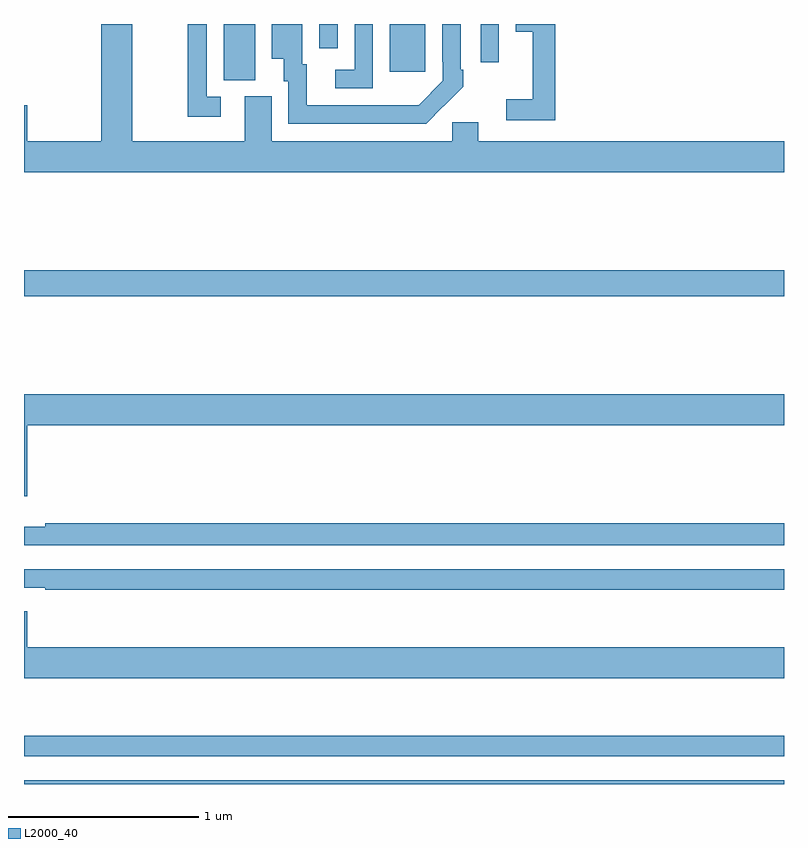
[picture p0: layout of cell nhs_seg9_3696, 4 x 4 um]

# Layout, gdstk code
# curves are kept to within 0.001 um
import gdstk
lib = gdstk.Library(unit=1e-6, precision=1e-09)
def R(c, l, rs):  # rectangles x0, y0, x1, y1
    for r in rs: c.add(gdstk.rectangle(r[:2], r[2:], *l))
def P(c, l, *ps):  # polygons
    for p in ps: c.add(gdstk.Polygon(p, *l))
L2000_40 = (2000, 40)

nhs_seg9_3696 = lib.new_cell('nhs_seg9_3696')
R(nhs_seg9_3696, L2000_40, [(321,1226.5,325,1226.52), (321,1226.646,325,1226.755), (321,1229.068,325,1229.204), (322.052,1230.205,322.216,1230.5), (322.925,1230.249,323.113,1230.5), (323.403,1230.3,323.499,1230.5), (322.554,1230.372,322.65,1230.5)])
P(nhs_seg9_3696, L2000_40, [(322.036,1230.117),(321.963,1230.117),(321.963,1230.5),(321.862,1230.5),(321.862,1230.012),(322.036,1230.012)],
  [(322.836,1230.5),(322.74,1230.5),(322.74,1230.258),(322.638,1230.258),(322.638,1230.162),(322.836,1230.162)],
  [(323.795,1230.5),(323.588,1230.5),(323.588,1230.458),(323.678,1230.458),(323.678,1230.103),(323.538,1230.103),(323.538,1229.994),(323.795,1229.994)],
  [(323.207,1230.067),(323.208,1230.066),(323.313,1230.171),(323.313,1230.259),(323.298,1230.259),(323.298,1230.5),(323.202,1230.5),(323.202,1230.301),(323.205,1230.301),(323.205,1230.201),(323.077,1230.073),(322.973,1230.072),(322.489,1230.072),(322.489,1230.288),(322.465,1230.288),(322.465,1230.5),(322.304,1230.5),(322.304,1230.317),(322.367,1230.317),(322.367,1230.198),(322.392,1230.198),(322.392,1229.976),(323.116,1229.976)],
  [(325,1229.884),(323.392,1229.884),(323.392,1229.982),(323.253,1229.982),(323.253,1229.884),(322.303,1229.884),(322.303,1230.12),(322.163,1230.12),(322.163,1229.884),(321.571,1229.884),(321.571,1230.499),(321.407,1230.499),(321.407,1229.884),(321.016,1229.884),(321.016,1230.073),(321,1230.073),(321,1229.72),(325,1229.72)],
  [(321.016,1228.388),(325,1228.388),(325,1228.552),(321,1228.552),(321,1228.014),(321.016,1228.014)],
  [(325,1227.872),(321.112,1227.872),(321.112,1227.853),(321,1227.853),(321,1227.756),(325,1227.756)],
  [(325,1227.63),(321,1227.63),(321,1227.534),(321.112,1227.534),(321.112,1227.522),(325,1227.522)],
  [(325,1227.22),(321.016,1227.22),(321.016,1227.409),(321,1227.409),(321,1227.056),(325,1227.056)])

lib.write_gds('nhs_seg9_3696.gds')
